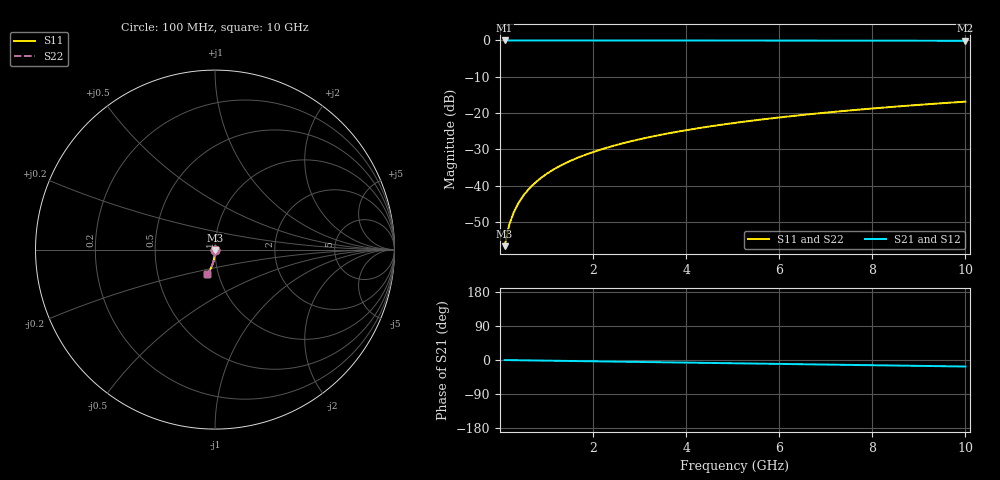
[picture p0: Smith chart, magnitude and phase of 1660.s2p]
# Hz S RI R 50.00
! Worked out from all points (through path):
!   100 points, 100 MHz to 10 GHz, reference 50 ohm
!   highest |S21| = 0.00 dB at 100 MHz (marker M1); lowest = -0.1 dB at 10 GHz (marker M2)
!   group delay of S21, straight-line fit = 4.78 ps
!   lowest |S11| = -56.7 dB at 100 MHz (marker M3), VSWR 1.00, Z = 50 - j0.145 ohm
!   |S11| at or under -10 dB: start of sweep to end of sweep
!   |S22| runs from -56.7 to -16.9 dB; largest |S21 - S12| = 0
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1e8  0.000237 -0.00145  0.9997 -0.00299  0.9997 -0.00299  0.000237 -0.00145
2e8  0.000223 -0.0029  0.9997 -0.00597  0.9997 -0.00597  0.000223 -0.0029
3e8  0.000201 -0.00435  0.9997 -0.00896  0.9997 -0.00896  0.000201 -0.00435
4e8  0.000169 -0.0058  0.9997 -0.0119  0.9997 -0.0119  0.000169 -0.0058
5e8  0.000129 -0.00726  0.9996 -0.0149  0.9996 -0.0149  0.000129 -0.00726
6e8  7.98e-05 -0.00871  0.9995 -0.0179  0.9995 -0.0179  7.98e-05 -0.00871
7e8  2.2e-05 -0.0102  0.9995 -0.0209  0.9995 -0.0209  2.2e-05 -0.0102
8e8  -4.45e-05 -0.0116  0.9994 -0.0239  0.9994 -0.0239  -4.45e-05 -0.0116
9e8  -0.00012 -0.0131  0.9993 -0.0269  0.9993 -0.0269  -0.00012 -0.0131
1.1e9  -0.000296 -0.016  0.9991 -0.0329  0.9991 -0.0329  -0.000296 -0.016
1.4e9  -0.000627 -0.0203  0.9986 -0.0418  0.9986 -0.0418  -0.000627 -0.0203
1.8e9  -0.00119 -0.0261  0.9979 -0.0538  0.9979 -0.0538  -0.00119 -0.0261
2.1e9  -0.0017 -0.0304  0.9973 -0.0627  0.9973 -0.0627  -0.0017 -0.0304
2.5e9  -0.00251 -0.0362  0.9962 -0.0746  0.9962 -0.0746  -0.00251 -0.0362
2.9e9  -0.00345 -0.042  0.995 -0.0866  0.995 -0.0866  -0.00345 -0.042
3.4e9  -0.00483 -0.0491  0.9933 -0.1014  0.9933 -0.1014  -0.00483 -0.0491
4.2e9  -0.00748 -0.0605  0.9899 -0.1252  0.9899 -0.1252  -0.00748 -0.0605
5.1e9  -0.0111 -0.0732  0.9853 -0.1518  0.9853 -0.1518  -0.0111 -0.0732
5.9e9  -0.0149 -0.0843  0.9804 -0.1753  0.9804 -0.1753  -0.0149 -0.0843
6.7e9  -0.0192 -0.0951  0.9748 -0.1986  0.9748 -0.1986  -0.0192 -0.0951
8.4e9  -0.0301 -0.1175  0.9608 -0.2475  0.9608 -0.2475  -0.0301 -0.1175
1e10  -0.0424 -0.1373  0.9449 -0.2925  0.9449 -0.2925  -0.0424 -0.1373
